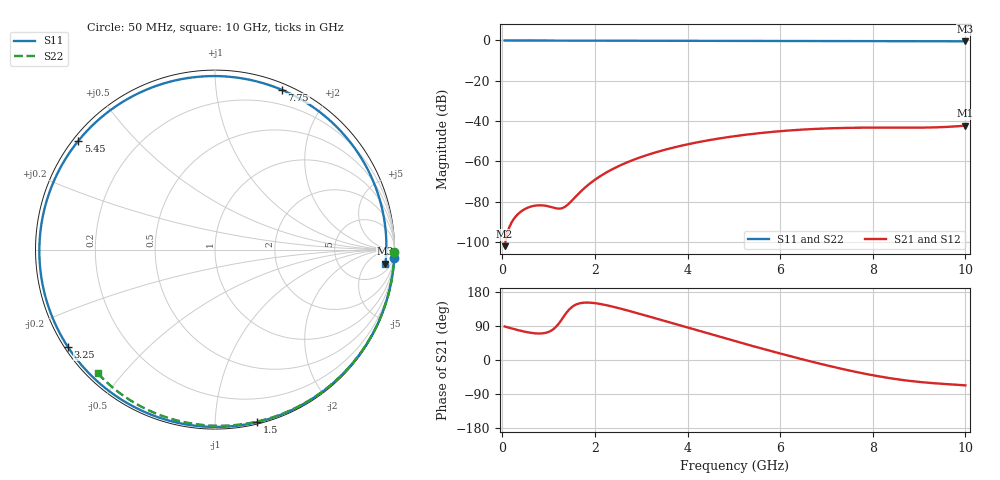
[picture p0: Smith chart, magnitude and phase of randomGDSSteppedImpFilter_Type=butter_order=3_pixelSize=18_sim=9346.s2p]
! freq	dB(S11)	phase(S11)	dB(S12)	phase(S12)
!  dB(S21)	phase(S21)	dB(S22)	phase(S22)
!S-par simulation data
#  GHz  S  DB  R 50
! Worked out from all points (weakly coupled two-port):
!   200 points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, 50 MHz to 10 GHz, reference 50 ohm
!   highest |S21| = -42.29 dB at 10 GHz (marker M1); lowest = -102.1 dB at 50 MHz (marker M2)
!   lowest |S11| = -0.4 dB at 10 GHz (marker M3), VSWR 41.44, Z = 528 - j902 ohm
!   |S11| at or under -10 dB: nowhere
!   |S22| runs from -0.5 to 0.0 dB; largest |S21 - S12| = 0
!   S11 on the Smith chart (normalised r, x): 50 MHz: 0, -42; 1.5 GHz: 0.01, -1.28; 3.25 GHz: 0.01, -0.30; 5.45 GHz: 0.02, +0.35; 7.75 GHz: 0.06, +1.50; 10 GHz: 11, -18
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0.05  -0.00 -2.7  -102.14 88.4  -102.14 88.4  -0.00 -0.8
0.45  -0.03 -24.0  -84.21 75.6  -84.21 75.6  -0.01 -6.9
0.85  -0.06 -44.7  -81.87 70.2  -81.87 70.2  -0.02 -13.0
1.2  -0.08 -62.0  -83.47 93.0  -83.47 93.0  -0.02 -18.3
1.5  -0.09 -76.2  -79.58 139.4  -79.58 139.4  -0.03 -22.9
1.75  -0.10 -87.5  -73.79 151.2  -73.79 151.2  -0.03 -26.6
2.05  -0.11 -100.4  -68.37 149.2  -68.37 149.2  -0.04 -31.1
2.4  -0.12 -114.7  -63.65 140.3  -63.65 140.3  -0.05 -36.2
2.85  -0.14 -132.0  -59.12 125.8  -59.12 125.8  -0.06 -42.8
3.25  -0.15 -146.5  -55.99 111.9  -55.99 111.9  -0.06 -48.5
3.4  -0.16 -151.7  -54.98 106.7  -54.98 106.7  -0.07 -50.7
3.8  -0.17 -165.4  -52.61 92.5  -52.61 92.5  -0.08 -56.3
4.2  -0.19 -178.6  -50.64 78.5  -50.64 78.5  -0.09 -61.8
5.05  -0.22 154.2  -47.43 49.0  -47.43 49.0  -0.11 -73.3
5.45  -0.24 141.5  -46.29 35.4  -46.29 35.4  -0.13 -78.6
6.1  -0.26 120.9  -44.87 13.9  -44.87 13.9  -0.15 -87.0
6.7  -0.28 101.6  -43.98 -5.0  -43.98 -5.0  -0.18 -94.5
7.2  -0.30 85.3  -43.53 -19.7  -43.53 -19.7  -0.21 -100.6
7.75  -0.31 67.3  -43.31 -34.3  -43.31 -34.3  -0.25 -107.3
8.35  -0.33 47.6  -43.29 -47.6  -43.29 -47.6  -0.29 -114.4
9.2  -0.36 20.1  -43.24 -60.1  -43.24 -60.1  -0.37 -124.3
10  -0.42 -4.7  -42.29 -66.9  -42.29 -66.9  -0.45 -133.6
